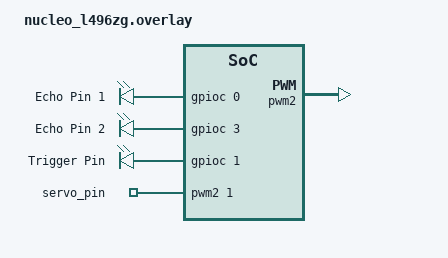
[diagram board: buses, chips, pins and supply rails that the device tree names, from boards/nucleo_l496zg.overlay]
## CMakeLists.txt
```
# SPDX-License-Identifier: Apache-2.0

cmake_minimum_required(VERSION 3.20.0)
set(DTC_OVERLAY_FILE "~/csse4011/project/sisyphus-red/mycode/apps/ultrasonic/boards/nrf52840dk_nrf52840.overlay")
find_package(Zephyr REQUIRED HINTS $ENV{ZEPHYR_BASE})
project(ultrasonic)

target_sources(app PRIVATE src/main.c)
```

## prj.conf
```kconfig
CONFIG_SHELL=y
CONFIG_UART_CONSOLE=y
CONFIG_SHELL_BACKEND_SERIAL=y
CONFIG_LOG=y
CONFIG_LOG_BACKEND_RTT=n
CONFIG_LOG_BACKEND_UART=n
CONFIG_LOG_MODE_DEFERRED=y
CONFIG_LOG_CMDS=y
CONFIG_GPIO=y
CONFIG_PWM=y
CONFIG_PRINTK=y
CONFIG_BT=y
CONFIG_BT_OBSERVER=y
CONFIG_BT_BROADCASTER=y
```

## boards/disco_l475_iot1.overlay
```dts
/ {
    aliases {
        trigger = &trigger_pin;
        echo1 = &echo_pin1;
        echo2 = &echo_pin2;
    };

    leds {
        compatible = "gpio-leds";

        echo_pin1: echo_pin1 {
            gpios = <&gpioc 5 GPIO_ACTIVE_HIGH>;
            label = "Echo Pin 1";
        };

        echo_pin2: echo_pin2 {
            gpios = <&gpioc 4 GPIO_ACTIVE_HIGH>;
            label = "Echo Pin 2";
        };

        trigger_pin: trigger_pin {
            gpios = <&gpioc 3 GPIO_ACTIVE_HIGH>;
            label = "Trigger Pin";
        };
    };
};

&gpioc {
    status = "okay";
};
```

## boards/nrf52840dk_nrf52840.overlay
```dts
/ {
    grove_rgb {
        compatible = "gpio-leds";
        echo_pin: echo_pin {
            gpios = <&gpio1 7 GPIO_ACTIVE_HIGH>; 
            label = "echo pin";
        };
        trigger_pin: trigger_pin {
            gpios = <&gpio1 8 GPIO_ACTIVE_HIGH>;
            label = "trigger pin";
        };
    };

    pwmles {
		compatible = "pwm-leds";

		servo_pin: servo_pin {
			pwms = <&pwm0 0 PWM_MSEC(20) PWM_POLARITY_NORMAL>;
		};
	};

    aliases {
        trigger = &trigger_pin;
        echo1 = &echo_pin;
        servo = &servo_pin;
    };
};

&pinctrl {
    pwm0_custom: pwm0_custom {
        group1 {
            psels = <NRF_PSEL(PWM_OUT0, 0, 3)>;
            nordic,invert;
        };
    };

    pwm0_csleep: pwm0_csleep {
        group1 {
            psels = <NRF_PSEL(PWM_OUT0, 0, 3)>;
            low-power-enable;
        };
    };
};

&gpio1 {
    status = "okay";
};

&pwm0 {
	status = "okay";
	pinctrl-0 = <&pwm0_custom>;
	pinctrl-1 = <&pwm0_csleep>;
	pinctrl-names = "default", "sleep";
};
```

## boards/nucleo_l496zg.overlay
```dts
/ {
    aliases {
        trigger = &trigger_pin;
        echo1 = &echo_pin1;
        echo2 = &echo_pin2;
        servo = &servo_pin;
    };

    leds {
        compatible = "gpio-leds";

        echo_pin1: echo_pin1 {
            gpios = <&gpioc 0 GPIO_ACTIVE_HIGH>;
            label = "Echo Pin 1";
        };

        echo_pin2: echo_pin2 {
            gpios = <&gpioc 3 GPIO_ACTIVE_HIGH>;
            label = "Echo Pin 2";
        };

        trigger_pin: trigger_pin {
            gpios = <&gpioc 1 GPIO_ACTIVE_HIGH>;
            label = "Trigger Pin";
        };
    };

    pwmleds: pwmleds {
        compatible = "pwm-leds";
        status = "okay";

        servo_pin: servo_pin {
            pwms = <&pwm2 1 PWM_MSEC(20) PWM_POLARITY_NORMAL>;
        };
    };
};

&gpioc {
    status = "okay";
};

&pwm2 {
    status = "okay";
};
```

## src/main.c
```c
/*
 * Ultrasonic ranger driver main source file
 * This file will run the ultrasonic sensor for task 3 of prac 3
 * 
 * Functionality:
 * - Utilise CLI to measure object distance from sensor
 * 
 * REF: 
 * https://github.com/zephyrproject-rtos/zephyr/tree/main/
 */
#include <zephyr/kernel.h>
#include <zephyr/device.h>
#include <zephyr/drivers/gpio.h>
#include <zephyr/drivers/pwm.h>
#include <zephyr/sys/printk.h>
#include <zephyr/shell/shell.h>
#include <zephyr/sys/ring_buffer.h>
#include <zephyr/logging/log.h>
#include <zephyr/bluetooth/bluetooth.h>
#include <zephyr/bluetooth/hci.h>
 
// Get the node identifiers using aliases
#define TRIGGER_NODE  DT_ALIAS(trigger)
#define ECHO_NODE1    DT_ALIAS(echo1)
#define SERVO_NODE    DT_ALIAS(servo)
 
#if !DT_NODE_HAS_STATUS(TRIGGER_NODE, okay)
#error "Trigger pin node is not okay"
#endif
 
#if !DT_NODE_HAS_STATUS(ECHO_NODE1, okay)
#error "Echo pin 1 node is not okay"
#endif

#if !DT_NODE_HAS_STATUS(SERVO_NODE, okay)
#error "Servo node is not okay"
#endif
 
// Get GPIO specs from device tree
static const struct gpio_dt_spec trig = GPIO_DT_SPEC_GET(TRIGGER_NODE, gpios);
static const struct gpio_dt_spec echo1 = GPIO_DT_SPEC_GET(ECHO_NODE1, gpios);
static const struct pwm_dt_spec servo = PWM_DT_SPEC_GET(SERVO_NODE);
 
#define PWM_PERIOD_NS 20000000  // 20ms (50Hz)
#define SERVO_MIN_PULSE_NS 1000000    
#define SERVO_MAX_PULSE_NS 3000000

#define WARNING_DIST 20 // Object warning distance
 
// Thread stack size and priority
#define ULTRA_STACK_SIZE 1024
#define ULTRA_PRIORITY 5
#define SERVO_STACK_SIZE 1024
#define SERVO_PRIORITY 5
#define MAIN_STACK_SIZE 1024
#define MAIN_PRIORITY -1

static struct k_thread ultra_thread_data;
static struct k_thread servo_thread_data;
static struct k_thread main_thread_data;

K_THREAD_STACK_DEFINE(ultra_stack_area, ULTRA_STACK_SIZE);
static k_tid_t ultra_tid;

K_THREAD_STACK_DEFINE(servo_stack_area, SERVO_STACK_SIZE);
static k_tid_t servo_tid;

K_THREAD_STACK_DEFINE(main_stack_area, MAIN_STACK_SIZE);
static k_tid_t main_tid;

int angle;

 // BLE Advertising params
 const struct bt_le_adv_param adv_params_distance = {
     .options = BT_LE_ADV_OPT_USE_IDENTITY,
     .interval_min = 0x00A0,
     .interval_max = 0x00F0,
     .peer = NULL
 };
 
LOG_MODULE_REGISTER(ultrasonic_node, LOG_LEVEL_DBG);  
 
// Broadcast distance (in centimeters)
void broadcast_distance(uint16_t distance_cm, uint16_t angle)
{
    uint8_t mfg_data[2];
 
    mfg_data[0] = (uint8_t)(distance_cm & 0xFF);
    mfg_data[1] = (uint8_t)(angle & 0xFF);
 
    struct bt_data ad[] = {
        BT_DATA(BT_DATA_MANUFACTURER_DATA, mfg_data, sizeof(mfg_data)),
    };
 
    int err = bt_le_adv_start(&adv_params_distance, ad, ARRAY_SIZE(ad), NULL, 0);
    if (err) {
        LOG_ERR("Advertising failed to start (err %d)\n", err);
        return;
    }
 
    printk("Broadcasting: %d cm at %d degrees\n", distance_cm, angle);
 
    err = bt_le_adv_stop();
    if (err) {
        LOG_ERR("Advertising failed to stop (err %d)\n", err);
    }
}
 
static void initialise_bluetooth(void)
{
    int err;
    LOG_DBG("Initialisation in process");
    err = bt_enable(NULL);
    if (err) {
        LOG_ERR("Initialisation failed (err %d)", err);
        return;
    }
    LOG_DBG("Initialisation successful");
}
 
// Convert angle (0–180°) to pulse width and set PWM
int servo_set_angle(uint8_t angle_deg)
{
    if (angle_deg > 180) {
        angle_deg = 180;
    }

    // Linear interpolation between min and max pulse widths
    uint32_t pulse_ns = SERVO_MIN_PULSE_NS +
        ((SERVO_MAX_PULSE_NS - SERVO_MIN_PULSE_NS) * angle_deg) / 180;

    return pwm_set_dt(&servo, PWM_PERIOD_NS, pulse_ns);
}


static void ultrasonic_init(void)
{
    if (!device_is_ready(trig.port) || 
        !device_is_ready(echo1.port) || 
        !device_is_ready(servo.dev)) {
        LOG_ERR("Error: One or more GPIO devices not ready\n");
        return;
    }

    gpio_pin_configure_dt(&trig, GPIO_OUTPUT_INACTIVE);
    gpio_pin_configure_dt(&echo1, GPIO_INPUT);

    initialise_bluetooth();
}
 
static uint32_t ultrasonic_measure(const struct gpio_dt_spec *echo_pin)
{
    gpio_pin_set_dt(&trig, 1);
    k_busy_wait(10);
    gpio_pin_set_dt(&trig, 0);

    uint32_t timeout = k_cycle_get_32() + k_ms_to_cyc_ceil32(30);

    while (gpio_pin_get_dt(echo_pin) == 0) {
        if ((int32_t)(timeout - k_cycle_get_32()) <= 0) {
            return 0;
        }
    }

    uint32_t start = k_cycle_get_32();
    while (gpio_pin_get_dt(echo_pin) == 1) {
        if ((int32_t)(timeout - k_cycle_get_32()) <= 0) {
            return 0;
        }
    }

    uint32_t end = k_cycle_get_32();
    uint32_t cycles = end - start;
    uint64_t ns = k_cyc_to_ns_floor64(cycles);
    uint32_t time_us = ns / 1000;
    return time_us / 58;
}

void servo_thread(void *a, void *b, void *c)
{
    while (1) {
        // Sweep from 0° to 180°
        for (angle = 0; angle <= 180; angle += 15) {
            servo_set_angle(angle);
            k_msleep(200);
        }

        // Sweep from 180° back to 0°
        for (angle = 180; angle >= 15; angle -= 15) {
            servo_set_angle(angle);
            k_msleep(200);
        }

        k_msleep(100);
    }
}
 
void ultrasonic_thread(void *a, void *b, void *c)
{
    while (1) {
        uint32_t dist1 = ultrasonic_measure(&echo1);

        if (dist1 > 0) {
            if (dist1 <= WARNING_DIST) {
                broadcast_distance(dist1, angle);
                printk("Object detected: %d cm at %d degrees\n", dist1, angle);
            }
        }

        k_msleep(500);
    }
}
 
void start_ultrasonic_thread(void *a, void *b, void *c) {
 
    ultra_tid = k_thread_create(&ultra_thread_data, ultra_stack_area,
                                 K_THREAD_STACK_SIZEOF(ultra_stack_area),
                                 ultrasonic_thread, NULL, NULL, NULL,
                                 ULTRA_PRIORITY, 0, K_NO_WAIT);
 
    servo_tid = k_thread_create(&servo_thread_data, servo_stack_area,
                            K_THREAD_STACK_SIZEOF(servo_stack_area),
                            servo_thread,
                            NULL, NULL, NULL,
                            SERVO_PRIORITY, 0, K_NO_WAIT);
}
 
int main(void)
{
    ultrasonic_init();

    main_tid = k_thread_create(&main_thread_data, main_stack_area,
                            K_THREAD_STACK_SIZEOF(main_stack_area),
                            start_ultrasonic_thread,
                            NULL, NULL, NULL,
                            MAIN_PRIORITY, 0, K_NO_WAIT);
    LOG_INF("Ultrasonic sensor ready.\n");
 
    return 0;
}
 
```
